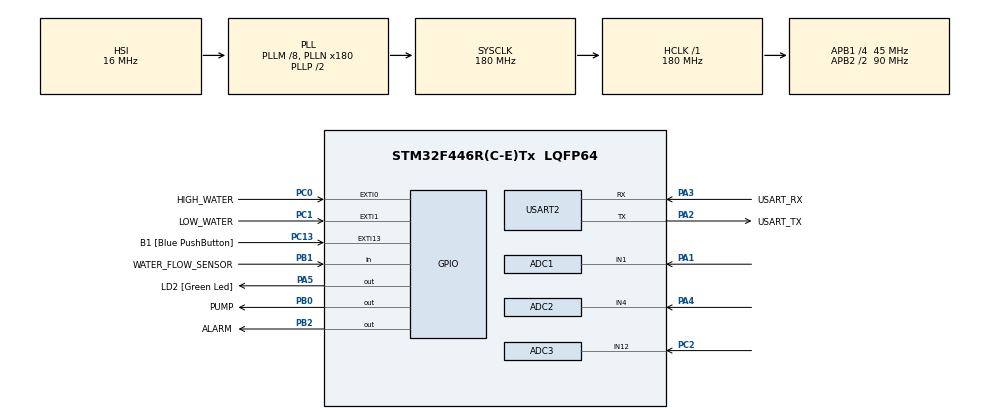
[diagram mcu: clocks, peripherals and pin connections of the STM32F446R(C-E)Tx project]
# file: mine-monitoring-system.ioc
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ADC1.Channel-0\#ChannelRegularConversion=ADC_CHANNEL_1
ADC1.NbrOfConversionFlag=1
ADC1.Rank-0\#ChannelRegularConversion=1
ADC1.SamplingTime-0\#ChannelRegularConversion=ADC_SAMPLETIME_3CYCLES
ADC1.master=1
ADC2.Channel-0\#ChannelRegularConversion=ADC_CHANNEL_4
ADC2.NbrOfConversionFlag=1
ADC2.Rank-0\#ChannelRegularConversion=1
ADC2.SamplingTime-0\#ChannelRegularConversion=ADC_SAMPLETIME_3CYCLES
ADC3.Channel-0\#ChannelRegularConversion=ADC_CHANNEL_12
ADC3.NbrOfConversionFlag=1
ADC3.Rank-0\#ChannelRegularConversion=1
ADC3.SamplingTime-0\#ChannelRegularConversion=ADC_SAMPLETIME_3CYCLES
FREERTOS.BinarySemaphores01=waterLevelSemaphore,Dynamic,NULL,Depleted
FREERTOS.Events01=alarmEventFlags,Dynamic,NULL
FREERTOS.Mutexes01=sensorDataMutex,Dynamic,NULL,Available;uartLogMutex,Dynamic,NULL,Available;pumpMutex,Dynamic,NULL,Available
FREERTOS.Queues01=pumpCommandQueue,16,uint16_t,0,Dynamic,NULL,NULL
FREERTOS.Tasks01=defaultTask,24,128,StartDefaultTask,Default,NULL,Dynamic,NULL,NULL;WaterLevelTask,11,128,StartWaterLevelTask,Default,NULL,Dynamic,NULL,NULL;MethaneTask,15,128,StartMethaneSensorTask,Default,NULL,Dynamic,NULL,NULL;COSensorTask,13,128,StartCOSensorTask,Default,NULL,Dynamic,NULL,NULL;AirFlowTask,12,128,StartAirFlowSensorTask,Default,NULL,Dynamic,NULL,NULL;PumpFlowTask,14,256,StartPumpFlowTask,Default,NULL,Dynamic,NULL,NULL;PumpManagerTask,10,256,StartPumpManagerTask,Default,NULL,Dynamic,NULL,NULL;AlarmManageTask,9,128,StartAlarmManageTask,Default,NULL,Dynamic,NULL,NULL;UICommsTask,8,256,StartUICommsTask,Default,NULL,Dynamic,NULL,NULL
FREERTOS.Timers01=waterSimTimer,WaterSimTimerCallback,osTimerPeriodic,Default,NULL,Dynamic,NULL
FREERTOS.configCHECK_FOR_STACK_OVERFLOW=2
FREERTOS.configTOTAL_HEAP_SIZE=17408
FREERTOS.configUSE_MALLOC_FAILED_HOOK=1
FREERTOS.configUSE_NEWLIB_REENTRANT=1
Mcu.Family=STM32F4
Mcu.Name=STM32F446R(C-E)Tx
Mcu.Package=LQFP64
NVIC.EXTI0_IRQn=true\:6\:0\:true\:false\:true\:true\:true\:true\:true
NVIC.EXTI1_IRQn=true\:6\:0\:true\:false\:true\:true\:true\:true\:true
NVIC.PriorityGroup=NVIC_PRIORITYGROUP_4
NVIC.TIM1_UP_TIM10_IRQn=true\:0\:0\:false\:false\:true\:false\:false\:true\:true
NVIC.TimeBase=TIM1_UP_TIM10_IRQn
NVIC.TimeBaseIP=TIM1
NVIC.USART2_IRQn=true\:7\:0\:true\:false\:true\:true\:true\:true\:true
PA0-WKUP.Mode=SYS_WakeUp0
PA0-WKUP.Signal=SYS_WKUP0
PA1.Signal=ADCx_IN1
PA13.GPIO_Label=TMS
PA13.Mode=Serial_Wire
PA13.Signal=SYS_JTMS-SWDIO
PA14.GPIO_Label=TCK
PA14.Mode=Serial_Wire
PA14.Signal=SYS_JTCK-SWCLK
PA2.GPIO_Label=USART_TX
PA2.Mode=Asynchronous
PA2.Signal=USART2_TX
PA3.GPIO_Label=USART_RX
PA3.Mode=Asynchronous
PA3.Signal=USART2_RX
PA4.Signal=ADCx_IN4
PA5.GPIO_Label=LD2 [Green Led]
PA5.Signal=GPIO_Output
PB0.GPIO_Label=PUMP
PB0.Signal=GPIO_Output
PB1.GPIO_Label=WATER_FLOW_SENSOR
PB1.GPIO_PuPd=GPIO_PULLDOWN
PB1.Signal=GPIO_Input
PB2.GPIO_Label=ALARM
PB2.Signal=GPIO_Output
PB3.GPIO_Label=SWO
PB3.Signal=SYS_JTDO-SWO
PC0.GPIO_Label=HIGH_WATER
PC0.GPIO_ModeDefaultEXTI=GPIO_MODE_IT_RISING_FALLING
PC0.GPIO_PuPd=GPIO_NOPULL
PC0.Signal=GPXTI0
PC1.GPIO_Label=LOW_WATER
PC1.GPIO_ModeDefaultEXTI=GPIO_MODE_IT_RISING_FALLING
PC1.GPIO_PuPd=GPIO_NOPULL
PC1.Signal=GPXTI1
PC13.GPIO_Label=B1 [Blue PushButton]
PC13.GPIO_ModeDefaultEXTI=GPIO_MODE_IT_FALLING
PC13.Signal=GPXTI13
PC14-OSC32_IN.Mode=LSE-External-Oscillator
PC14-OSC32_IN.Signal=RCC_OSC32_IN
PC15-OSC32_OUT.Mode=LSE-External-Oscillator
PC15-OSC32_OUT.Signal=RCC_OSC32_OUT
PC2.Signal=ADCx_IN12
PH0-OSC_IN.Mode=HSE-External-Oscillator
PH0-OSC_IN.Signal=RCC_OSC_IN
PH1-OSC_OUT.Mode=HSE-External-Oscillator
PH1-OSC_OUT.Signal=RCC_OSC_OUT
ProjectManager.HeapSize=0x200
ProjectManager.StackSize=0x400
ProjectManager.TargetToolchain=STM32CubeIDE
RCC.48MHZClocksFreq_Value=84000000
RCC.AHBFreq_Value=180000000
RCC.APB1CLKDivider=RCC_HCLK_DIV4
RCC.APB1Freq_Value=45000000
RCC.APB1TimFreq_Value=90000000
RCC.APB2CLKDivider=RCC_HCLK_DIV2
RCC.APB2Freq_Value=90000000
RCC.APB2TimFreq_Value=180000000
RCC.CortexFreq_Value=180000000
RCC.FLatency-AdvancedSettings=FLASH_LATENCY_5
RCC.HCLKFreq_Value=180000000
RCC.HSE_VALUE=8000000
RCC.HSI_VALUE=16000000
RCC.PLLM=8
RCC.PLLN=180
RCC.SYSCLKFreq_VALUE=180000000
RCC.SYSCLKSource=RCC_SYSCLKSOURCE_PLLCLK
RCC.USBFreq_Value=180000000
RCC.VCOOutputFreq_Value=360000000
SH.ADCx_IN1.0=ADC1_IN1,IN1
SH.ADCx_IN12.0=ADC3_IN12,IN12
SH.ADCx_IN4.0=ADC2_IN4,IN4
USART2.VirtualMode=VM_ASYNC
VP_FREERTOS_VS_CMSIS_V2.Mode=CMSIS_V2
VP_SYS_VS_tim1.Mode=TIM1
VP_TIM2_VS_ClockSourceINT.Mode=Internal
board=NUCLEO-F446RE

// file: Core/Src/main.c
/* USER CODE BEGIN Header */
/**
  ******************************************************************************
  * @file           : main.c
  * @brief          : Main program body
  ******************************************************************************
  * @attention
  *
  * Copyright (c) 2026 STMicroelectronics.
  * All rights reserved.
  *
  * This software is licensed under terms that can be found in the LICENSE file
  * in the root directory of this software component.
  * If no LICENSE file comes with this software, it is provided AS-IS.
  *
  ******************************************************************************
  */
/* USER CODE END Header */
#include "main.h"
#include "cmsis_os.h"
#include "adc.h"
#include "tim.h"
#include "usart.h"
#include "gpio.h"

/* USER CODE BEGIN Includes */
#include "perf_measure.h"
/* USER CODE END Includes */

void SystemClock_Config(void);
void MX_FREERTOS_Init(void);

int main(void)
{

  /* MCU Configuration--------------------------------------------------------*/

  /* Reset of all peripherals, Initializes the Flash interface and the Systick. */
  HAL_Init();

  /* Configure the system clock */
  SystemClock_Config();

  /* Initialize all configured peripherals */
  MX_GPIO_Init();
  MX_USART2_UART_Init();
  MX_ADC1_Init();
  MX_ADC2_Init();
  MX_ADC3_Init();
  MX_TIM2_Init();
  /* USER CODE BEGIN 2 */
  Perf_Init();   /* enable DWT cycle counter + reset WCET statistics */
  /* USER CODE END 2 */

  /* Init scheduler */
  osKernelInitialize();  /* Call init function for freertos objects (in cmsis_os2.c) */
  MX_FREERTOS_Init();

  /* Start scheduler */
  osKernelStart();

  /* We should never get here as control is now taken by the scheduler */

  /* Infinite loop */
  while (1)
  {

  }
}

void SystemClock_Config(void)
{
  RCC_OscInitTypeDef RCC_OscInitStruct = {0};
  RCC_ClkInitTypeDef RCC_ClkInitStruct = {0};

  /** Configure the main internal regulator output voltage
  */
  __HAL_RCC_PWR_CLK_ENABLE();
  __HAL_PWR_VOLTAGESCALING_CONFIG(PWR_REGULATOR_VOLTAGE_SCALE1);

  /** Initializes the RCC Oscillators according to the specified parameters
  * in the RCC_OscInitTypeDef structure.
  */
  RCC_OscInitStruct.OscillatorType = RCC_OSCILLATORTYPE_HSI;
  RCC_OscInitStruct.HSIState = RCC_HSI_ON;
  RCC_OscInitStruct.HSICalibrationValue = RCC_HSICALIBRATION_DEFAULT;
  RCC_OscInitStruct.PLL.PLLState = RCC_PLL_ON;
  RCC_OscInitStruct.PLL.PLLSource = RCC_PLLSOURCE_HSI;
  RCC_OscInitStruct.PLL.PLLM = 8;
  RCC_OscInitStruct.PLL.PLLN = 180;
  RCC_OscInitStruct.PLL.PLLP = RCC_PLLP_DIV2;
  RCC_OscInitStruct.PLL.PLLQ = 2;
  RCC_OscInitStruct.PLL.PLLR = 2;
  if (HAL_RCC_OscConfig(&RCC_OscInitStruct) != HAL_OK)
  {
    Error_Handler();
  }

  /** Activate the Over-Drive mode
  */
  if (HAL_PWREx_EnableOverDrive() != HAL_OK)
  {
    Error_Handler();
  }

  /** Initializes the CPU, AHB and APB buses clocks
  */
  RCC_ClkInitStruct.ClockType = RCC_CLOCKTYPE_HCLK|RCC_CLOCKTYPE_SYSCLK
                              |RCC_CLOCKTYPE_PCLK1|RCC_CLOCKTYPE_PCLK2;
  RCC_ClkInitStruct.SYSCLKSource = RCC_SYSCLKSOURCE_PLLCLK;
  RCC_ClkInitStruct.AHBCLKDivider = RCC_SYSCLK_DIV1;
  RCC_ClkInitStruct.APB1CLKDivider = RCC_HCLK_DIV4;
  RCC_ClkInitStruct.APB2CLKDivider = RCC_HCLK_DIV2;

  if (HAL_RCC_ClockConfig(&RCC_ClkInitStruct, FLASH_LATENCY_5) != HAL_OK)
  {
    Error_Handler();
  }
}

void HAL_TIM_PeriodElapsedCallback(TIM_HandleTypeDef *htim)
{
  if (htim->Instance == TIM1)
  {
    HAL_IncTick();
  }
}

void Error_Handler(void)
{
  __disable_irq();
  while (1)
  {
  }
}

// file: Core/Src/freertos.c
/* USER CODE BEGIN Header */
/**
  ******************************************************************************
  * File Name          : freertos.c
  * Description        : Code for freertos applications
  ******************************************************************************
  * @attention
  *
  * Copyright (c) 2026 STMicroelectronics.
  * All rights reserved.
  *
  * This software is licensed under terms that can be found in the LICENSE file
  * in the root directory of this software component.
  * If no LICENSE file comes with this software, it is provided AS-IS.
  *
  ******************************************************************************
  */
/* USER CODE END Header */

#include "FreeRTOS.h"
#include "task.h"
#include "main.h"
#include "cmsis_os.h"

/* USER CODE BEGIN Includes */
#include "freertos_shared.h"
#include "task_water_level.h"
#include "task_methane.h"
#include "task_co_sensor.h"
#include "task_airflow.h"
#include "task_pump_flow.h"
#include "task_pump_manager.h"
#include "task_alarm_manager.h"
#include "task_ui_comms.h"
#include "usart.h"
#include <stdio.h>
/* USER CODE END Includes */

/* USER CODE BEGIN Variables */
SharedSensorData_t sharedSensorData;
volatile uint8_t simModeEnabled = 0U;
/* USER CODE END Variables */
/* Definitions for defaultTask */
osThreadId_t defaultTaskHandle;
const osThreadAttr_t defaultTask_attributes = {
  .name = "defaultTask",
  .stack_size = 128 * 4,
  .priority = (osPriority_t) osPriorityNormal,
};
/* Definitions for WaterLevelTask */
osThreadId_t WaterLevelTaskHandle;
const osThreadAttr_t WaterLevelTask_attributes = {
  .name = "WaterLevelTask",
  .stack_size = 128 * 4,
  .priority = (osPriority_t) osPriorityLow3,
};
/* Definitions for MethaneTask */
osThreadId_t MethaneTaskHandle;
const osThreadAttr_t MethaneTask_attributes = {
  .name = "MethaneTask",
  .stack_size = 128 * 4,
  .priority = (osPriority_t) osPriorityLow7,
};
/* Definitions for COSensorTask */
osThreadId_t COSensorTaskHandle;
const osThreadAttr_t COSensorTask_attributes = {
  .name = "COSensorTask",
  .stack_size = 128 * 4,
  .priority = (osPriority_t) osPriorityLow5,
};
/* Definitions for AirFlowTask */
osThreadId_t AirFlowTaskHandle;
const osThreadAttr_t AirFlowTask_attributes = {
  .name = "AirFlowTask",
  .stack_size = 128 * 4,
  .priority = (osPriority_t) osPriorityLow4,
};
/* Definitions for PumpFlowTask */
osThreadId_t PumpFlowTaskHandle;
const osThreadAttr_t PumpFlowTask_attributes = {
  .name = "PumpFlowTask",
  .stack_size = 256 * 4,
  .priority = (osPriority_t) osPriorityLow6,
};
/* Definitions for PumpManagerTask */
osThreadId_t PumpManagerTaskHandle;
const osThreadAttr_t PumpManagerTask_attributes = {
  .name = "PumpManagerTask",
  .stack_size = 256 * 4,
  .priority = (osPriority_t) osPriorityLow2,
};
/* Definitions for AlarmManageTask */
osThreadId_t AlarmManageTaskHandle;
const osThreadAttr_t AlarmManageTask_attributes = {
  .name = "AlarmManageTask",
  .stack_size = 128 * 4,
  .priority = (osPriority_t) osPriorityLow1,
};
/* Definitions for UICommsTask */
osThreadId_t UICommsTaskHandle;
const osThreadAttr_t UICommsTask_attributes = {
  .name = "UICommsTask",
  .stack_size = 256 * 4,
  .priority = (osPriority_t) osPriorityLow,
};
/* Definitions for pumpCommandQueue */
osMessageQueueId_t pumpCommandQueueHandle;
const osMessageQueueAttr_t pumpCommandQueue_attributes = {
  .name = "pumpCommandQueue"
};
/* Definitions for waterSimTimer */
osTimerId_t waterSimTimerHandle;
const osTimerAttr_t waterSimTimer_attributes = {
  .name = "waterSimTimer"
};
/* Definitions for sensorDataMutex */
osMutexId_t sensorDataMutexHandle;
const osMutexAttr_t sensorDataMutex_attributes = {
  .name = "sensorDataMutex"
};
/* Definitions for uartLogMutex */
osMutexId_t uartLogMutexHandle;
const osMutexAttr_t uartLogMutex_attributes = {
  .name = "uartLogMutex"
};
/* Definitions for pumpMutex */
osMutexId_t pumpMutexHandle;
const osMutexAttr_t pumpMutex_attributes = {
  .name = "pumpMutex"
};
/* Definitions for waterLevelSemaphore */
osSemaphoreId_t waterLevelSemaphoreHandle;
const osSemaphoreAttr_t waterLevelSemaphore_attributes = {
  .name = "waterLevelSemaphore"
};
/* Definitions for alarmEventFlags */
osEventFlagsId_t alarmEventFlagsHandle;
const osEventFlagsAttr_t alarmEventFlags_attributes = {
  .name = "alarmEventFlags"
};

void StartDefaultTask(void *argument);
void StartWaterLevelTask(void *argument);
void StartMethaneSensorTask(void *argument);
void StartCOSensorTask(void *argument);
void StartAirFlowSensorTask(void *argument);
void StartPumpFlowTask(void *argument);
void StartPumpManagerTask(void *argument);
void StartAlarmManageTask(void *argument);
void StartUICommsTask(void *argument);
void WaterSimTimerCallback(void *argument);

void MX_FREERTOS_Init(void); /* (MISRA C 2004 rule 8.1) */

/* Hook prototypes */
void vApplicationStackOverflowHook(xTaskHandle xTask, signed char *pcTaskName);
void vApplicationMallocFailedHook(void);

/* USER CODE BEGIN 4 */
void vApplicationStackOverflowHook(xTaskHandle xTask, signed char *pcTaskName)
{
  char msg[64];
  int len = snprintf(msg, sizeof(msg), "STACK OVERFLOW: %s\r\n", (char *)pcTaskName);
  HAL_UART_Transmit(&huart2, (uint8_t *)msg, (uint16_t)len, 100);

  taskDISABLE_INTERRUPTS();
  for (;;) { }
}
/* USER CODE END 4 */

/* USER CODE BEGIN 5 */
void vApplicationMallocFailedHook(void)
{
  static const char msg[] = "MALLOC FAILED\r\n";
  HAL_UART_Transmit(&huart2, (uint8_t *)msg, sizeof(msg) - 1, 100);

  taskDISABLE_INTERRUPTS();
  for (;;) { }
}
/* USER CODE END 5 */

void MX_FREERTOS_Init(void) {
  /* Create the mutex(es) */
  /* creation of sensorDataMutex */
  sensorDataMutexHandle = osMutexNew(&sensorDataMutex_attributes);

  /* creation of uartLogMutex */
  uartLogMutexHandle = osMutexNew(&uartLogMutex_attributes);

  /* creation of pumpMutex */
  pumpMutexHandle = osMutexNew(&pumpMutex_attributes);

  /* Create the semaphores(s) */
  /* creation of waterLevelSemaphore */
  waterLevelSemaphoreHandle = osSemaphoreNew(1, 0, &waterLevelSemaphore_attributes);

  /* Create the timer(s) */
  /* creation of waterSimTimer */
  waterSimTimerHandle = osTimerNew(WaterSimTimerCallback, osTimerPeriodic, NULL, &waterSimTimer_attributes);

  /* USER CODE BEGIN RTOS_TIMERS */
  /* start timers, add new ones, ... */
  osTimerStart(waterSimTimerHandle, WATER_SIM_TICK_MS);
  /* USER CODE END RTOS_TIMERS */

  /* Create the queue(s) */
  /* creation of pumpCommandQueue */
  pumpCommandQueueHandle = osMessageQueueNew (16, sizeof(uint16_t), &pumpCommandQueue_attributes);

  /* Create the thread(s) */
  /* creation of defaultTask */
  defaultTaskHandle = osThreadNew(StartDefaultTask, NULL, &defaultTask_attributes);

  /* creation of WaterLevelTask */
  WaterLevelTaskHandle = osThreadNew(StartWaterLevelTask, NULL, &WaterLevelTask_attributes);

  /* creation of MethaneTask */
  MethaneTaskHandle = osThreadNew(StartMethaneSensorTask, NULL, &MethaneTask_attributes);

  /* creation of COSensorTask */
  COSensorTaskHandle = osThreadNew(StartCOSensorTask, NULL, &COSensorTask_attributes);

  /* creation of AirFlowTask */
  AirFlowTaskHandle = osThreadNew(StartAirFlowSensorTask, NULL, &AirFlowTask_attributes);

  /* creation of PumpFlowTask */
  PumpFlowTaskHandle = osThreadNew(StartPumpFlowTask, NULL, &PumpFlowTask_attributes);

  /* creation of PumpManagerTask */
  PumpManagerTaskHandle = osThreadNew(StartPumpManagerTask, NULL, &PumpManagerTask_attributes);

  /* creation of AlarmManageTask */
  AlarmManageTaskHandle = osThreadNew(StartAlarmManageTask, NULL, &AlarmManageTask_attributes);

  /* creation of UICommsTask */
  UICommsTaskHandle = osThreadNew(StartUICommsTask, NULL, &UICommsTask_attributes);

  /* creation of alarmEventFlags */
  alarmEventFlagsHandle = osEventFlagsNew(&alarmEventFlags_attributes);

}

void StartDefaultTask(void *argument)
{
  for(;;)
  {
    osDelay(1);
  }
}

void StartWaterLevelTask(void *argument)
{
  /* USER CODE BEGIN StartWaterLevelTask */
  WaterLevelTask_Run(argument);
  /* USER CODE END StartWaterLevelTask */
}

void StartMethaneSensorTask(void *argument)
{
  /* USER CODE BEGIN StartMethaneSensorTask */
  MethaneTask_Run(argument);
  /* USER CODE END StartMethaneSensorTask */
}

void StartCOSensorTask(void *argument)
{
  /* USER CODE BEGIN StartCOSensorTask */
  COSensorTask_Run(argument);
  /* USER CODE END StartCOSensorTask */
}

void StartAirFlowSensorTask(void *argument)
{
  /* USER CODE BEGIN StartAirFlowSensorTask */
  AirFlowTask_Run(argument);
  /* USER CODE END StartAirFlowSensorTask */
}

void StartPumpFlowTask(void *argument)
{
  /* USER CODE BEGIN StartPumpFlowTask */
  PumpFlowTask_Run(argument);
  /* USER CODE END StartPumpFlowTask */
}

void StartPumpManagerTask(void *argument)
{
  /* USER CODE BEGIN StartPumpManagerTask */
  PumpManagerTask_Run(argument);
  /* USER CODE END StartPumpManagerTask */
}

void StartAlarmManageTask(void *argument)
{
  /* USER CODE BEGIN StartAlarmManageTask */
  AlarmManagerTask_Run(argument);
  /* USER CODE END StartAlarmManageTask */
}

void StartUICommsTask(void *argument)
{
  /* USER CODE BEGIN StartUICommsTask */
  UICommsTask_Run(argument);
  /* USER CODE END StartUICommsTask */
}

/* WaterSimTimerCallback function */
void WaterSimTimerCallback(void *argument)
{
  /* USER CODE BEGIN WaterSimTimerCallback */
  WaterSim_TimerCb(argument);
  /* USER CODE END WaterSimTimerCallback */
}
